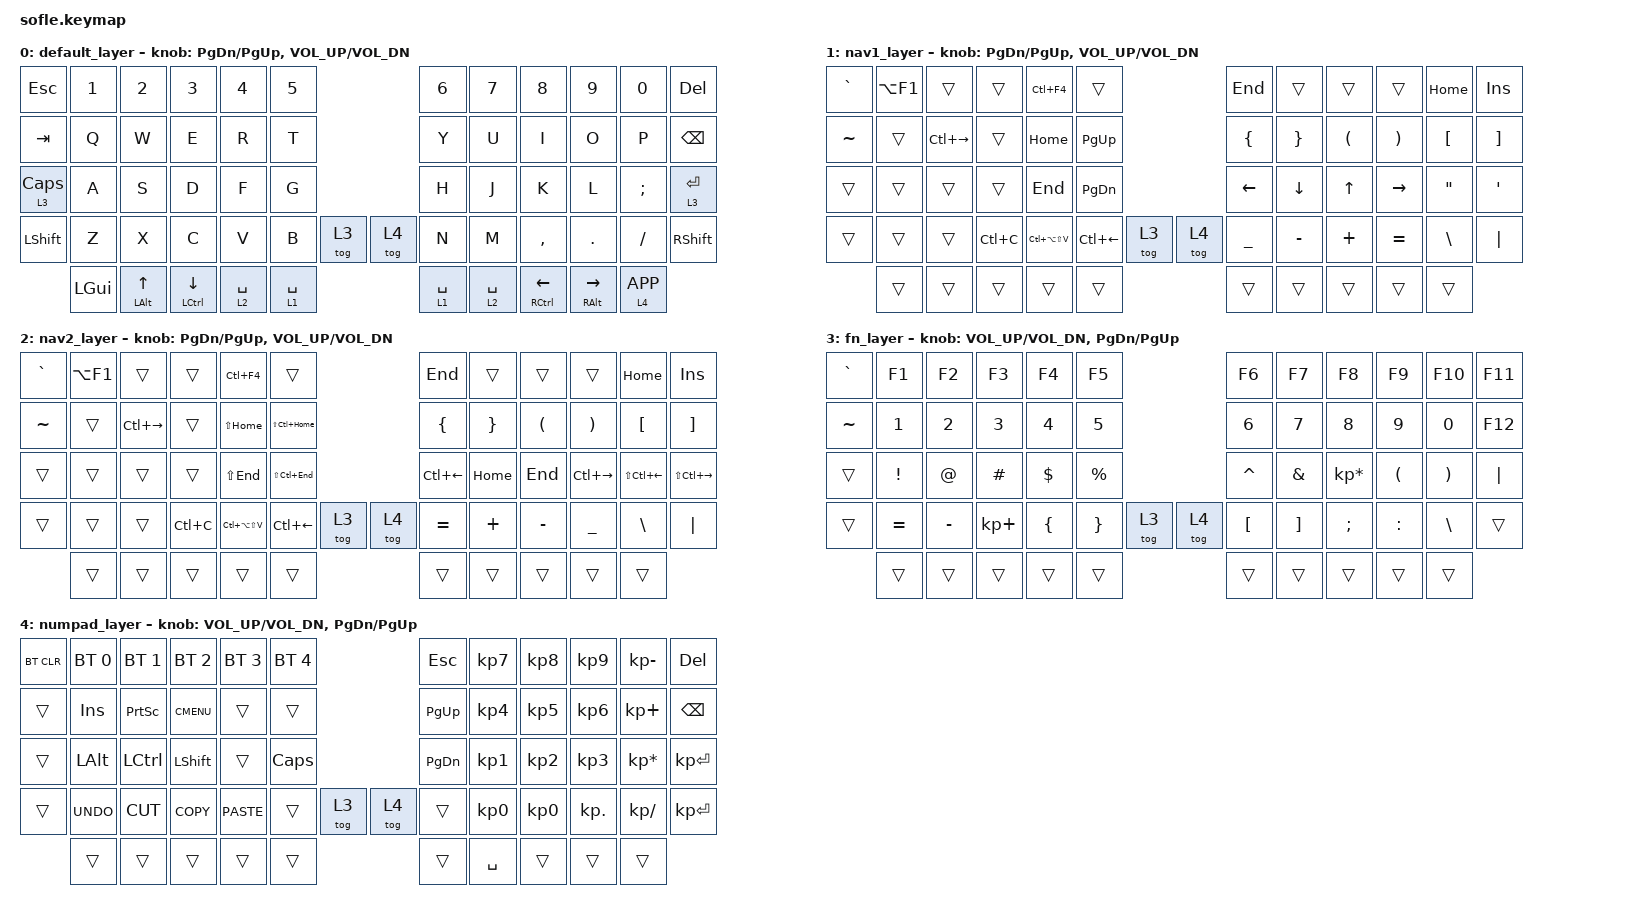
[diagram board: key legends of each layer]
/*
 * Copyright (c) 2020 The ZMK Contributors
 *
 * SPDX-License-Identifier: MIT
 */

#include <behaviors.dtsi>
#include <dt-bindings/zmk/keys.h>
#include <dt-bindings/zmk/bt.h>

/ {
    keymap {
        compatible = "zmk,keymap";

        default_layer {
// ------------------------------------------------------------------------------------------------------------
// |  ESC  |  1  |  2  |  3   |  4   |  5   |                   |  6   |  7    |  8    |  9   |   0   |  DEL  |
// |  TAB  |  Q  |  W  |  E   |  R   |  T   |                   |  Y   |  U    |  I    |  O   |   P   | BKSPC |
// |  CAPS |  A  |  S  |  D   |  F   |  G   |                   |  H   |  J    |  K    |  L   |   ;   | ENTER |
// | SHIFT |  Z  |  X  |  C   |  V   |  B   |  TgFN  |  | TgNum |  N   |  M    |  ,    |  .   |   /   | SHIFT |
//               | GUI | ALT  | CTRL | SPACE|  SPACE |  | SPACE | SPACE| CTRL  | ALT   | MENU |
            bindings = <
&kp ESC    &kp N1 &kp N2   &kp N3   &kp N4    &kp N5                           &kp N6      &kp N7    &kp N8    &kp N9   &kp N0   &kp DEL
&kp TAB    &kp Q  &kp W    &kp E    &kp R     &kp T                            &kp Y       &kp U     &kp I     &kp O    &kp P    &kp BSPC
&lt 3 CAPS &kp A  &kp S    &kp D    &kp F     &kp G                            &kp H       &kp J     &kp K     &kp L    &kp SEMI &lt 3 RET
&kp LSHFT  &kp Z  &kp X    &kp C    &kp V     &kp B       &tog 3     &tog 4    &kp N       &kp M     &kp COMMA &kp DOT  &kp FSLH &kp RSHFT
        &kp LGUI &mt LALT UP &mt LCTRL DOWN &lt 2 SPACE &lt 1 SPACE  &lt 1 SPACE &lt 2 SPACE &mt RCTRL LEFT &mt RALT RIGHT &lt 4 K_APP 
            >;

            sensor-bindings = <&inc_dec_kp PG_DN PG_UP &inc_dec_kp C_VOL_UP C_VOL_DN>;
        };
        
        nav1_layer {
// ------------------------------------------------------------------------------------------------------------
// |  `   |Alt+F1|     |      |Ctl+F4|      |                   |  END |       |       |      |  HOME |  Ins  |
// |  ~   |      |NexWd|      | HOME | PGUP |                   |   {  |   }   |   (   |   )  |   [   |   ]   |
// |      |      |     |      | END  | PGDN |                   |  <-  |   v   |   ^   |  ->  |   "   |   '   |
// |      |      |     |Ctrl+C|CAS+V |PrevWd|  TgFN  |  | TgNum |   _  |   -   |   +   |  =   |   \   |   |   |
//               |     |      |      |      |        |  |       |      |       |       |      |
            bindings = <
&kp GRAVE &kp LA(F1) &trans        &trans      &kp LC(F4)        &trans                       &kp END   &trans    &trans   &trans    &kp HOME &kp INS
&kp TILDE &trans     &kp LC(RIGHT) &trans      &kp HOME          &kp PG_UP                    &kp LBRC  &kp RBRC  &kp LPAR &kp RPAR  &kp LBKT &kp RBKT
&trans    &trans     &trans        &trans      &kp END           &kp PG_DN                    &kp LEFT  &kp DOWN  &kp UP   &kp RIGHT &kp DQT  &kp SQT
&trans    &trans     &trans        &kp LC(C)   &kp LC(LA(LS(V))) &kp LC(LEFT) &tog 3   &tog 4 &kp UNDER &kp MINUS &kp PLUS &kp EQUAL &kp BSLH &kp PIPE
                     &trans        &trans      &trans            &trans       &trans   &trans &trans    &trans   &trans    &trans
            >;

            sensor-bindings = <&inc_dec_kp PG_DN PG_UP &inc_dec_kp C_VOL_UP C_VOL_DN>;
        };
        
        nav2_layer {
// ------------------------------------------------------------------------------------------------------------
// |  `   |Alt+F1|     |      |Ctl+F4|      |                   |  END |       |       |      |  HOME |  Ins  |
// |  ~   |      |NexWd|      |Sft+HM|S+C+HM|                   |   {  |   }   |   (   |   )  |   [   |   ]   |
// |      |      |     |      |Sft+ED|S+C+ED|                   |PrevWd|  HOME |  END  |NextWd| Sft+PW|Sft+NW |
// |      |      |     |Ctrl+C|CAS+V |PrevWd|  TgFN  |  | TgNum |   =  |   +   |   -   |  _   |   \   |   |   |
//               |     |      |      |      |        |  |       |      |       |       |      |
            bindings = <
&kp GRAVE &kp LA(F1) &trans        &trans      &kp LC(F4)        &trans                       &kp END      &trans   &trans    &trans        &kp HOME         &kp INS
&kp TILDE &trans     &kp LC(RIGHT) &trans      &kp LS(HOME)      &kp LS(LC(HOME))             &kp LBRC     &kp RBRC &kp LPAR  &kp RPAR      &kp LBKT         &kp RBKT
&trans    &trans     &trans        &trans      &kp LS(END)       &kp LS(LC(END))              &kp LC(LEFT) &kp HOME &kp END   &kp LC(RIGHT) &kp LS(LC(LEFT)) &kp LS(LC(RIGHT))
&trans    &trans     &trans        &kp LC(C)   &kp LC(LA(LS(V))) &kp LC(LEFT) &tog 3   &tog 4 &kp EQUAL    &kp PLUS &kp MINUS &kp UNDER     &kp BSLH         &kp PIPE
                     &trans        &trans      &trans            &trans       &trans   &trans &trans       
                     &trans   &trans    &trans
            >;

            sensor-bindings = <&inc_dec_kp PG_DN PG_UP &inc_dec_kp C_VOL_UP C_VOL_DN>;
        };

        fn_layer {
// TODO: Some binds are waiting for shifted keycode support.
// ------------------------------------------------------------------------------------------------------------
// | `     |  F1 |  F2 |  F3  |  F4  |  F5  |                   |  F6  |  F7   |  F8   |  F9  |  F10  |  F11  |
// | ~     |   1 |   2 |   3  |   4  |   5  |                   |   6  |   7   |   8   |   9  |    0  |  F12  |
// |       |  !  |  @  |  #   |  $   |  %   |                   |  ^   |  &    |  *    |  (   |   )   |   |   |
// |       |  =  |  -  |  +   |  {   |  }   |  TgFn  |  | TgNum |  [   |  ]    |  ;    |  :   |   \   |       |
//               |     |      |      |      |        |  |       |      |       |       |      |
            bindings = <
&kp GRAVE &kp F1    &kp F2    &kp F3      &kp F4    &kp F5                    &kp F6    &kp F7   &kp F8          &kp F9    &kp F10   &kp F11
&kp TILDE &kp N1    &kp N2    &kp N3      &kp N4    &kp N5                    &kp N6    &kp N7   &kp N8          &kp N9    &kp N0    &kp F12
&trans    &kp EXCL  &kp AT    &kp HASH    &kp DLLR  &kp PRCNT                 &kp CARET &kp AMPS &kp KP_MULTIPLY &kp LPAR  &kp RPAR  &kp PIPE
&trans    &kp EQUAL &kp MINUS &kp KP_PLUS &kp LBRC  &kp RBRC  &tog 3   &tog 4 &kp LBKT  &kp RBKT &kp SEMI        &kp COLON &kp BSLH  &trans
                    &trans    &trans      &trans    &trans    &trans   &trans &trans    &trans   &trans          &trans
            >;

            sensor-bindings = <&inc_dec_kp C_VOL_UP C_VOL_DN &inc_dec_kp PG_DN PG_UP>;
        };
        
        numpad_layer {
// ------------------------------------------------------------------------------------------------------------
// |BTCLR| BT1  | BT2  |  BT3  |  BT4  |  BT5 |                |  ESC |   7  |   8   |  9   |   -   |  DEL  |
// |     | INS  | PSCR | GUI   |       |      |                | PGUP |   4  |   5   |  6   |   +   | BKSPC |
// |     | ALT  | CTRL | SHIFT |       | CAPS |                | PGDN |   1  |   2   |  3   |   *   | ENTER |
// |     | UNDO | CUT  | COPY  | PASTE |      | TgFn |  |TgNum |      |   0  |   0   |  .   |   /   | ENTER |
//              |      |       |       |      |      |  |      |SPACE |      |       |      |
            bindings = <
&bt BT_CLR &bt BT_SEL 0 &bt BT_SEL 1 &bt BT_SEL 2 &bt BT_SEL 3 &bt BT_SEL 4             &kp ESC   &kp KP_N7    &kp KP_N8   &kp KP_N9  &kp KP_MINUS    &kp DEL
&trans     &kp INS      &kp PSCRN    &kp K_CMENU  &trans       &trans                   &kp PG_UP &kp KP_N4    &kp KP_N5   &kp KP_N6  &kp KP_PLUS     &kp BSPC
&trans     &kp LALT     &kp LCTRL    &kp LSHFT    &trans       &kp CLCK                 &kp PG_DN &kp KP_N1    &kp KP_N2   &kp KP_N3  &kp KP_MULTIPLY &kp KP_ENTER
&trans     &kp K_UNDO   &kp K_CUT    &kp K_COPY   &kp K_PASTE  &trans  &tog 3   &tog 4  &trans    &kp KP_N0    &kp KP_N0   &kp KP_DOT &kp KP_DIVIDE   &kp KP_ENTER
                        &trans       &trans       &trans       &trans  &trans   &trans  &kp SPACE &trans    &trans   &trans
            >;

            sensor-bindings = <&inc_dec_kp C_VOL_UP C_VOL_DN &inc_dec_kp PG_DN PG_UP>;
        };
    };
};
